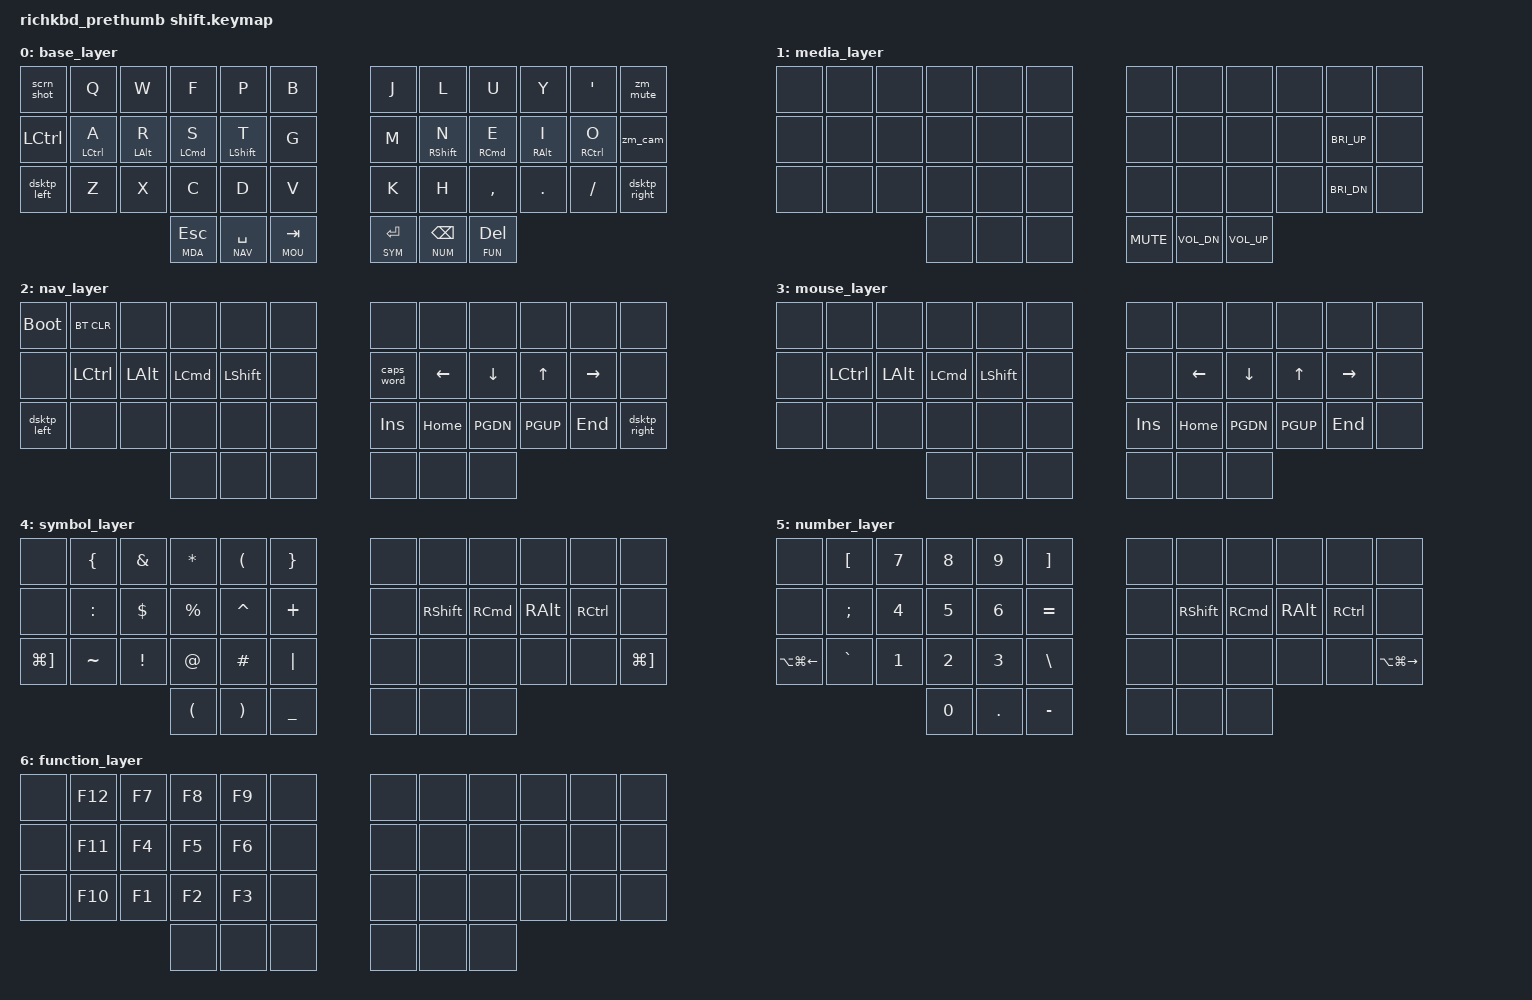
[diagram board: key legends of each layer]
/*
 * Copyright (c) 2021 The ZMK Contributors
 *
 * SPDX-License-Identifier: MIT
 */

#include <behaviors.dtsi>
#include <dt-bindings/zmk/keys.h>
#include <dt-bindings/zmk/bt.h>

#define DEFAULT 0
#define MDA     1
#define NAV     2
#define MOU     3
#define SYM     4
#define NUM     5
#define FUN     6

/* Combo helper, to DRY up combo definitions
 * usage: COMBO(vol_up, &kp C_VOL_UP,  9 19) */
#define FAST_COMBO(name, keypress, keypos) \
    combo_##name {                    \
        layers = <0>;                 \
        timeout-ms = <25>;            \
        bindings = <keypress>;        \
        key-positions = <keypos>;     \
    };

#define SLOW_COMBO(name, keypress, keypos) \
    combo_##name {                    \
        layers = <0>;                 \
        timeout-ms = <75>;            \
        bindings = <keypress>;        \
        key-positions = <keypos>;     \
    };

/* Macro helper to DRY up simple keypress macros
 * usage: MACRO(dir_up, &kp DOT &kp DOT &kp FSLH) */
#define MACRO(name, keys)                  \
    name: name##_macro {                   \
        label = #name;                     \
        compatible = "zmk,behavior-macro"; \
        #binding-cells = <0>;              \
        wait-ms = <1>;                     \
        tap-ms = <1>;                      \
        bindings = <keys>;                 \
    };

/* This is for snoyer's capslock based caps_word */
// &caps_word {
//   disable-on-keys = <SPACE TAB ENTER PERIOD>;
// };


/ {

      behaviors {
        hrm: home_row_mods {
            compatible = "zmk,behavior-hold-tap";
            label = "SLOW_HOME_ROW_MODS";
            #binding-cells = <2>;
            flavor = "balanced";
            tapping-term-ms = <250>;
            quick-tap-ms = <240>;
            bindings = <&kp>, <&kp>;
        };
        
        sh_mod: shift_mods {
            compatible = "zmk,behavior-hold-tap";
            label = "SHIFT_MODS";
            #binding-cells = <2>;
            flavor = "balanced";
            tapping-term-ms = <250>;
            quick-tap-ms = <240>;
            bindings = <&kp>, <&kp>;
        };

        qlt: layer_tap_with_quick_tap {
            compatible = "zmk,behavior-hold-tap";
            label = "QUICK_LAYER_TAP";
            #binding-cells = <2>;
            flavor = "balanced";
            tapping-term-ms = <250>;
            quick-tap-ms = <240>;
            bindings = <&mo>, <&kp>;
        };

    };

    /* Combo key positions
    0  1  2  3  4  5        6  7  8  9  10 11
    12 13 14 15 16 17       18 19 20 21 22 23
    24 25 26 27 28 29       30 31 32 33 34 35
             36 37 38       39 40 41         */

   combos {
        compatible = "zmk,combos";
        SLOW_COMBO(combo_lbkt, &kp LBKT, 1 2)
        SLOW_COMBO(combo_rbkt, &kp RBKT, 9 10)
        SLOW_COMBO(combo_lpar, &kp LPAR, 2 3)
        SLOW_COMBO(combo_rpar, &kp RPAR, 8 9)
        SLOW_COMBO(combo_lbrc, &kp LBRC, 3 4)
        SLOW_COMBO(combo_rbrc, &kp RBRC, 7 8)
     };

    macros {
        MACRO(scrn_shot, &kp LS(LG(N4)))  // Mac screenshot
        MACRO(zm_mute, &kp LS(LG(A)))     // Zoom mute
        MACRO(zm_cam, &kp LS(LG(V)))      // Zoom cam on/off
        MACRO(dsktp_right, &kp LC(RIGHT)) // Mac desktop next
        MACRO(dsktp_left, &kp LC(LEFT))   // Mac desktop previous
    };

    keymap {
        compatible = "zmk,keymap";

        base_layer {
            bindings = <
&scrn_shot    &kp Q           &kp W           &kp F           &kp P              &kp B          /**/     &kp J           &kp L           &kp U           &kp Y           &kp SQT            &zm_mute
&kp LCTRL     &hrm LCTRL A    &hrm LALT R     &hrm LCMD S     &sh_mod LSHIFT T   &kp G          /**/     &kp M           &sh_mod RSHIFT N &hrm RCMD E    &hrm RALT I     &hrm RCTRL O       &zm_cam
&dsktp_left   &kp Z           &kp X           &kp C           &kp D              &kp V          /**/     &kp K           &kp H           &kp COMMA       &kp DOT         &kp FSLH           &dsktp_right
                                              &qlt MDA ESC    &qlt NAV SPACE     &qlt MOU TAB   /**/     &qlt SYM RET    &qlt NUM BSPC   &qlt FUN DEL
            >;
        };

        media_layer {
            bindings = <
    &none       &none     &none     &none     &none       &none    /**/   &none      &none        &none     &none    &none         &none 
    &none       &none     &none     &none     &none       &none    /**/   &none      &none        &none     &none    &kp C_BRI_UP  &none 
    &none       &none     &none     &none     &none       &none    /**/   &none      &none        &none     &none    &kp C_BRI_DN  &none 
                                    &none     &none       &none    /**/   &kp C_MUTE &kp C_VOL_DN &kp C_VOL_UP
            >;
        };

        nav_layer {
            bindings = <
    &bootloader &bt BT_CLR &none    &none     &none       &none    /**/   &none      &none     &none     &none    &none      &none 
    &none       &kp LCTRL &kp LALT  &kp LCMD  &kp LSHIFT  &none    /**/   &caps_word &kp LEFT  &kp DOWN  &kp UP   &kp RIGHT  &none 
    &dsktp_left &none     &none     &none     &none       &none    /**/   &kp INS    &kp HOME  &kp PGDN  &kp PGUP &kp END    &dsktp_right
                                    &none     &none       &none    /**/   &none      &none     &none 
            >;
        };

        mouse_layer {
            bindings = <
    &none       &none     &none     &none     &none       &none    /**/   &none    &none     &none     &none    &none      &none 
    &none       &kp LCTRL &kp LALT  &kp LCMD  &kp LSHIFT  &none    /**/   &none    &kp LEFT  &kp DOWN  &kp UP   &kp RIGHT  &none 
    &none       &none     &none     &none     &none       &none    /**/   &kp INS  &kp HOME  &kp PGDN  &kp PGUP &kp END    &none 
                                    &none     &none       &none    /**/   &none    &none     &none 
            >;
        };

        symbol_layer {
            bindings = <
    &none         &kp LBRC  &kp AMPS  &kp STAR  &kp LPAR    &kp RBRC  /**/   &none     &none      &none     &none     &none      &none 
    &none         &kp COLON &kp DLLR  &kp PRCNT &kp CARET   &kp PLUS  /**/   &none     &kp RSHIFT &kp RCMD  &kp RALT  &kp RCTRL  &none 
    &kp LG(RBKT)  &kp TILDE &kp EXCL  &kp AT    &kp HASH    &kp PIPE  /**/   &none     &none      &none     &none     &none      &kp LG(RBKT)
                                      &kp LPAR  &kp RPAR    &kp UNDER /**/   &none     &none      &none 
            >;
        };

        number_layer {
            bindings = <
    &none            &kp LBKT  &kp N7    &kp N8    &kp N9      &kp RBKT  /**/   &none     &none      &none     &none     &none      &none 
    &none            &kp SEMI  &kp N4    &kp N5    &kp N6      &kp EQUAL /**/   &none     &kp RSHIFT &kp RCMD  &kp RALT  &kp RCTRL  &none 
    &kp LA(LG(LEFT)) &kp GRAVE &kp N1    &kp N2    &kp N3      &kp BSLH  /**/   &none     &none      &none     &none     &none      &kp LA(LG(RIGHT))
                                         &kp N0    &kp DOT     &kp MINUS /**/   &none     &none      &none 
            >;
        };

        function_layer {
            bindings = <
    &none     &kp F12   &kp F7    &kp F8    &kp F9      &none    /**/   &none    &none     &none     &none    &none      &none 
    &none     &kp F11   &kp F4    &kp F5    &kp F6      &none    /**/   &none    &none     &none     &none    &none      &none 
    &none     &kp F10   &kp F1    &kp F2    &kp F3      &none    /**/   &none    &none     &none     &none    &none      &none 
                                  &none     &none       &none    /**/   &none    &none     &none 
            >;
        };

    };
};
